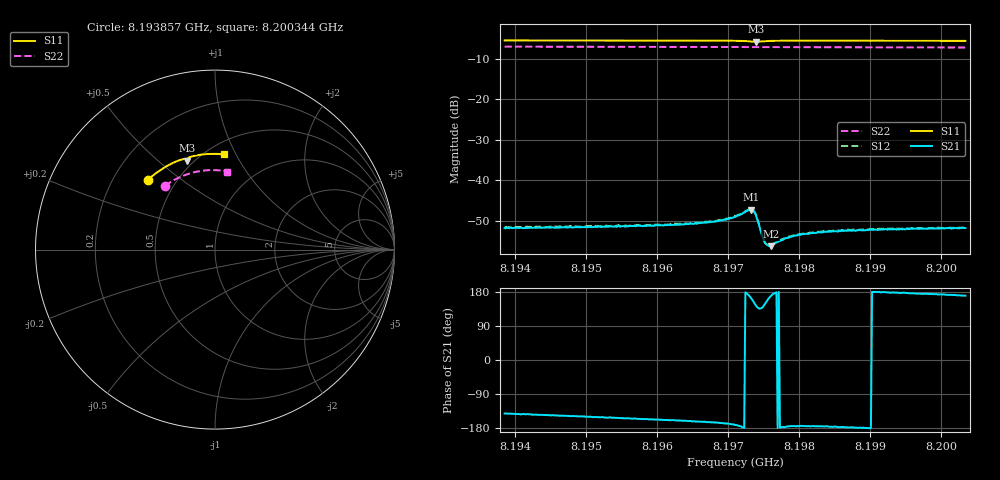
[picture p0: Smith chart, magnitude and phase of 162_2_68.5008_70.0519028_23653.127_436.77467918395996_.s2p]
#  HZ  S  RI  R  50.00
! Rohde & Schwarz Vector Network Analyzer
! Rohde-Schwarz,ZNB20-2Port,1311601062101988,3.16
! Created: UTC 3/20/2024, 5:10:58 PM
! freq[Hz]  re:S11  im:S11  re:S21  im:S21  re:S12  im:S12  re:S22  im:S22
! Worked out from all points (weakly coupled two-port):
!   401 points, 8.193857 GHz to 8.200344 GHz, reference 50 ohm
!   highest |S21| = -47.32 dB at 8.197327 GHz (marker M1); lowest = -56.4 dB at 8.197603 GHz (marker M2)
!   lowest |S11| = -5.7 dB at 8.197392 GHz (marker M3), VSWR 3.16, Z = 23.2 + j31.4 ohm
!   |S11| at or under -10 dB: nowhere
!   |S22| runs from -7.1 to -6.9 dB; largest |S21 - S12| = 0.00023
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8.1938568e9  -0.3713 0.3902  -0.00198 -0.00159  -0.00209 -0.00156  -0.2777 0.3558
8.1949434e9  -0.3117 0.4383  -0.00224 -0.00137  -0.00232 -0.00132  -0.2263 0.3887
8.19603e9  -0.2455 0.4776  -0.00255 -0.00106  -0.00266 -0.000958  -0.1711 0.4141
8.1965327e9  -0.2127 0.4924  -0.00276 -0.000908  -0.00287 -0.000808  -0.1444 0.4234
8.1968084e9  -0.1935 0.4995  -0.00293 -0.000804  -0.00305 -0.000695  -0.1294 0.4276
8.197003e9  -0.1791 0.504  -0.00324 -0.000703  -0.0033 -0.000566  -0.1188 0.4303
8.1971003e9  -0.1712 0.5054  -0.00345 -0.000523  -0.00357 -0.000404  -0.1134 0.4317
8.1972787e9  -0.1548 0.5039  -0.00416 0.000461  -0.00423 0.000643  -0.1033 0.4337
8.1973274e9  -0.1518 0.5  -0.00412 0.00126  -0.00413 0.00141  -0.1008 0.4341
8.1973598e9  -0.1517 0.4972  -0.00371 0.00181  -0.00373 0.00203  -0.0992 0.4344
8.1973923e9  -0.1539 0.4955  -0.00304 0.00216  -0.003 0.00235  -0.0973 0.4347
8.1974247e9  -0.1564 0.4967  -0.00225 0.00206  -0.00225 0.0022  -0.0959 0.4351
8.1974896e9  -0.157 0.5029  -0.00147 0.00126  -0.00146 0.00135  -0.0924 0.436
8.197522e9  -0.1554 0.5058  -0.00142 0.00088  -0.00139 0.000961  -0.0904 0.4362
8.1975544e9  -0.1531 0.5082  -0.00145 0.000612  -0.00144 0.000647  -0.0886 0.4365
8.1976031e9  -0.1492 0.511  -0.00149 0.000305  -0.00155 0.000368  -0.0858 0.4371
8.1978301e9  -0.1315 0.5181  -0.00192 -0.000158  -0.00195 -8.31e-05  -0.0732 0.439
8.1980248e9  -0.1173 0.5219  -0.0021 -0.000231  -0.00215 -0.000134  -0.0622 0.4405
8.1981869e9  -0.1056 0.5244  -0.00219 -0.000213  -0.00225 -9.63e-05  -0.053 0.4413
8.198641e9  -0.0731 0.5295  -0.00236 -0.000116  -0.0024 2.43e-05  -0.0272 0.4429
8.1992735e9  -0.028 0.5333  -0.00247 8.37e-05  -0.00252 0.000151  0.00856 0.4425
8.2003439e9  0.0476 0.5307  -0.00251 0.000454  -0.0025 0.000547  0.069 0.435
